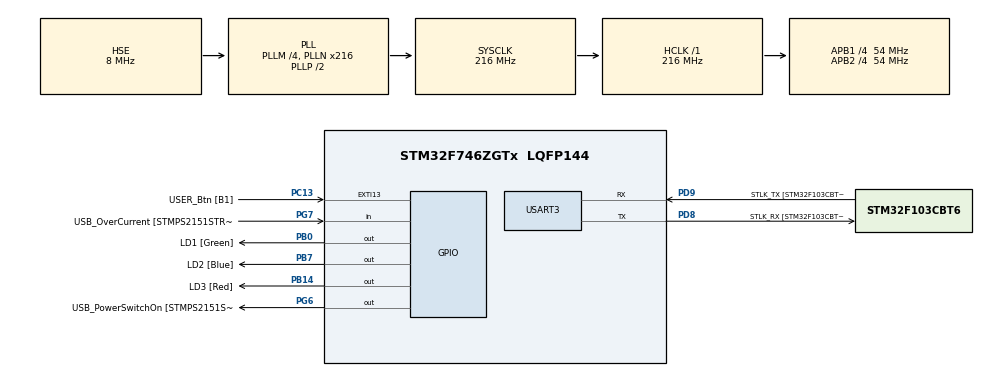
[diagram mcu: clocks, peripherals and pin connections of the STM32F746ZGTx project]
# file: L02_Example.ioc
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Mcu.Family=STM32F7
Mcu.Name=STM32F746ZGTx
Mcu.Package=LQFP144
NVIC.PriorityGroup=NVIC_PRIORITYGROUP_4
NVIC.USART3_IRQn=true\:0\:0\:false\:false\:true\:true\:true\:true
PA1.GPIO_Label=RMII_REF_CLK [LAN8742A-CZ-TR_REFCLK0]
PA1.Signal=ETH_REF_CLK
PA10.GPIO_Label=USB_ID
PA10.Signal=USB_OTG_FS_ID
PA11.GPIO_Label=USB_DM
PA11.Signal=USB_OTG_FS_DM
PA12.GPIO_Label=USB_DP
PA12.Signal=USB_OTG_FS_DP
PA13.GPIO_Label=TMS
PA13.Mode=Serial_Wire
PA13.Signal=SYS_JTMS-SWDIO
PA14.GPIO_Label=TCK
PA14.Mode=Serial_Wire
PA14.Signal=SYS_JTCK-SWCLK
PA2.GPIO_Label=RMII_MDIO [LAN8742A-CZ-TR_MDIO]
PA2.Signal=ETH_MDIO
PA7.GPIO_Label=RMII_CRS_DV [LAN8742A-CZ-TR_CRS_DV]
PA7.Signal=ETH_CRS_DV
PA8.GPIO_Label=USB_SOF [TP1]
PA8.Signal=USB_OTG_FS_SOF
PA9.GPIO_Label=USB_VBUS
PA9.Signal=USB_OTG_FS_VBUS
PB0.GPIO_Label=LD1 [Green]
PB0.Signal=GPIO_Output
PB13.GPIO_Label=RMII_TXD1 [LAN8742A-CZ-TR_TXD1]
PB13.Signal=ETH_TXD1
PB14.GPIO_Label=LD3 [Red]
PB14.Signal=GPIO_Output
PB3.GPIO_Label=SW0
PB3.Signal=SYS_JTDO-SWO
PB7.GPIO_Label=LD2 [Blue]
PB7.Signal=GPIO_Output
PC1.GPIO_Label=RMII_MDC [LAN8742A-CZ-TR_MDC]
PC1.Signal=ETH_MDC
PC13.GPIO_Label=USER_Btn [B1]
PC13.Signal=GPXTI13
PC14/OSC32_IN.Mode=LSE-External-Oscillator
PC14/OSC32_IN.Signal=RCC_OSC32_IN
PC15/OSC32_OUT.Mode=LSE-External-Oscillator
PC15/OSC32_OUT.Signal=RCC_OSC32_OUT
PC4.GPIO_Label=RMII_RXD0 [LAN8742A-CZ-TR_RXD0]
PC4.Signal=ETH_RXD0
PC5.GPIO_Label=RMII_RXD1 [LAN8742A-CZ-TR_RXD1]
PC5.Signal=ETH_RXD1
PD8.GPIO_Label=STLK_RX [STM32F103CBT6_PA3]
PD8.GPIO_PuPd=GPIO_PULLUP
PD8.Mode=Asynchronous
PD8.Signal=USART3_TX
PD9.GPIO_Label=STLK_TX [STM32F103CBT6_PA2]
PD9.GPIO_PuPd=GPIO_PULLUP
PD9.Mode=Asynchronous
PD9.Signal=USART3_RX
PG11.GPIO_Label=RMII_TX_EN [LAN8742A-CZ-TR_TXEN]
PG11.Signal=ETH_TX_EN
PG13.GPIO_Label=RMII_TXD0 [LAN8742A-CZ-TR_TXD0]
PG13.Signal=ETH_TXD0
PG6.GPIO_Label=USB_PowerSwitchOn [STMPS2151STR_EN]
PG6.Signal=GPIO_Output
PG7.GPIO_Label=USB_OverCurrent [STMPS2151STR_FAULT]
PG7.Signal=GPIO_Input
PH0/OSC_IN.GPIO_Label=MCO [STM32F103CBT6_PA8]
PH0/OSC_IN.Mode=HSE-External-Clock-Source
PH0/OSC_IN.Signal=RCC_OSC_IN
PH1/OSC_OUT.Mode=HSE-External-Clock-Source
PH1/OSC_OUT.Signal=RCC_OSC_OUT
ProjectManager.HeapSize=0x200
ProjectManager.StackSize=0x400
ProjectManager.TargetToolchain=STM32CubeIDE
RCC.48MHZClocksFreq_Value=24000000
RCC.AHBFreq_Value=216000000
RCC.APB1CLKDivider=RCC_HCLK_DIV4
RCC.APB1Freq_Value=54000000
RCC.APB1TimFreq_Value=108000000
RCC.APB2CLKDivider=RCC_HCLK_DIV4
RCC.APB2Freq_Value=54000000
RCC.APB2TimFreq_Value=108000000
RCC.CortexFreq_Value=216000000
RCC.HCLKFreq_Value=216000000
RCC.HSE_VALUE=8000000
RCC.HSI_VALUE=16000000
RCC.PLLM=4
RCC.PLLMUL=RCC_PLL_MUL9
RCC.PLLN=216
RCC.PLLQ=3
RCC.PLLSourceVirtual=RCC_PLLSOURCE_HSE
RCC.PRESCALERUSB=RCC_USBCLKSOURCE_PLL_DIV1_5
RCC.SYSCLKFreq_VALUE=216000000
RCC.SYSCLKSource=RCC_SYSCLKSOURCE_PLLCLK
RCC.SYSCLKSourceVirtual=RCC_SYSCLKSOURCE_PLLCLK
RCC.USBFreq_Value=144000000
RCC.VCOOutputFreq_Value=432000000
USART3.VirtualMode-Asynchronous=VM_ASYNC
board=NUCLEO-F746ZG

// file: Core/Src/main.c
/* USER CODE BEGIN Header */
/**
  ******************************************************************************
  * @file           : main.c
  * @brief          : Main program body
  ******************************************************************************
  * @attention
  *
  * Copyright (c) 2024 STMicroelectronics.
  * All rights reserved.
  *
  * This software is licensed under terms that can be found in the LICENSE file
  * in the root directory of this software component.
  * If no LICENSE file comes with this software, it is provided AS-IS.
  *
  ******************************************************************************
  */
#define TASK 7
/* USER CODE END Header */
#include "main.h"
#include "usart.h"
#include "gpio.h"

/* USER CODE BEGIN Includes */
#if TASK == 1
#include "led_config.h"
#endif
#if TASK == 2
#include <stdio.h>
#include "btn_config.h"
#include "led_config.h"
#endif
#if TASK == 3
#include "led_config.h"
#endif
#if TASK == 4
#include "led_config.h"
#endif
#if TASK == 5
#include "serial_api_config.h"
#endif
#if TASK == 6
#include "serial_api_config.h"
#endif
#if TASK == 7
#include <stdio.h>
#include "led_config.h"
#include "serial_api_config.h"
#endif
/* USER CODE END Includes */

/* USER CODE BEGIN PV */
#if TASK == 4
unsigned char Message;
#endif
#if TASK == 5
unsigned char Message[SERIAL_API_LED_MSG_LEN+1];
#endif
#if TASK == 6
unsigned int MessageIndex = 0;
unsigned char Message[SERIAL_API_LED_MSG_LEN+1];
_Bool MessageReceived = 0;
#endif
/* USER CODE END PV */

void SystemClock_Config(void);

/* USER CODE BEGIN 0 */
#if TASK == 4
/**
  * @brief Tx Transfer completed callback.
  * @param huart UART handle.
  * @retval None
  */
void HAL_UART_TxCpltCallback(UART_HandleTypeDef *huart)
{
  if(huart == &huart3)
  {
    LED_DIO_Off(&hld1);
    HAL_UART_Receive_IT(&huart3, &Message, 1);
  }
}

/**
  * @brief  Rx Transfer completed callback.
  * @param  huart UART handle.
  * @retval None
  */
void HAL_UART_RxCpltCallback(UART_HandleTypeDef *huart)
{
  if(huart == &huart3)
  {
    LED_DIO_On(&hld1);
    HAL_UART_Transmit_IT(&huart3, &Message, 1);
  }
}
#endif
#if TASK == 5
/**
  * @brief  Rx Transfer completed callback.
  * @param  huart UART handle.
  * @retval None
  */
void HAL_UART_RxCpltCallback(UART_HandleTypeDef *huart)
{
  if(huart == &huart3)
  {
    unsigned int hleds_n = sizeof(hleds) / sizeof(hleds[0]);
    SERIAL_API_LED_ReadMsg((char*)Message, hleds, hleds_n);
    for(int i = 0; i < hleds_n; i++)
      LED_DIO_Write(hleds[i].Led, hleds[i].State);
    HAL_UART_Receive_IT(&huart3, Message, SERIAL_API_LED_MSG_LEN);
  }
}
#endif
#if TASK == 6
/**
  * @brief  Rx Transfer completed callback.
  * @param  huart UART handle.
  * @retval None
  */
void HAL_UART_RxCpltCallback(UART_HandleTypeDef *huart)
{
  if(huart == &huart3)
  {
    MessageIndex++;
    if(MessageIndex == SERIAL_API_LED_MSG_LEN || Message[MessageIndex-1] == '\r')
    {
      MessageReceived = 1;
      MessageIndex = 0;
    }
    else
      HAL_UART_Receive_IT(&huart3, &Message[MessageIndex], 1);
  }
}
#endif
#if TASK == 7
int _write(int file, char *ptr, int len)
{
  return (HAL_UART_Transmit(&huart3, (uint8_t*)ptr, len, HAL_MAX_DELAY) == HAL_OK) ? len : -1;
}

int _read(int file, char *ptr, int len)
{
  return (HAL_UART_Receive(&huart3, (uint8_t*)ptr, len, HAL_MAX_DELAY) == HAL_OK) ? len : -1;
}
#endif
/* USER CODE END 0 */

int main(void)
{

  /* USER CODE BEGIN 1 */
  #if TASK == 7
  setvbuf(stdin, NULL, _IONBF, 0);
  #endif
  /* USER CODE END 1 */

  /* MCU Configuration--------------------------------------------------------*/

  /* Reset of all peripherals, Initializes the Flash interface and the Systick. */
  HAL_Init();

  /* Configure the system clock */
  SystemClock_Config();

  /* Initialize all configured peripherals */
  MX_GPIO_Init();
  MX_USART3_UART_Init();
  /* USER CODE BEGIN 2 */
  #if TASK == 1
  unsigned char Message[] = "Hello, Nucleo!\r\n";
  HAL_StatusTypeDef USART3_TxStatus = HAL_UART_Transmit(&huart3, Message, sizeof(Message) - 1, 10);
  if(USART3_TxStatus == HAL_OK)
    LED_DIO_On(&hld1);
  else
    LED_DIO_On(&hld3);
  #endif
  #if TASK == 4
  HAL_UART_Receive_IT(&huart3, &Message, 1);
  #endif
  #if TASK == 5
  HAL_UART_Receive_IT(&huart3, Message, SERIAL_API_LED_MSG_LEN);
  #endif
  #if TASK == 6
  HAL_UART_Receive_IT(&huart3, &Message[MessageIndex], 1);
  #endif
  #if TASK == 7
  puts("Hello, Nucleo!");
  #endif
  /* USER CODE END 2 */

  /* Infinite loop */
  /* USER CODE BEGIN WHILE */
  while (1)
  {
    #if TASK == 2
    if(BTN_DIO_EdgeDetected(&husrbtn) == BTN_PRESSED_EDGE)
    {
      static unsigned int USER_Btn_Cnt = 0;
      USER_Btn_Cnt++;

      unsigned char Message[32];
      int MessageLen = snprintf((char*)Message, sizeof(Message), "Hello, Nucleo: #%d\r\n", USER_Btn_Cnt);

      HAL_StatusTypeDef USART3_TxStatus = HAL_UART_Transmit(&huart3, Message, MessageLen, 10);

      LED_DIO_AllOff();
      if(USART3_TxStatus == HAL_OK)
        LED_DIO_On(&hld1);
      else
        LED_DIO_On(&hld3);
    }
    HAL_Delay(50);
    #endif
    #if TASK == 3
    unsigned char Message = '\0';
    HAL_StatusTypeDef USART3_RxStatus = HAL_UART_Receive(&huart3, &Message, 1, 100);
    LED_DIO_AllOff();

    if(USART3_RxStatus == HAL_OK)
    {
      LED_DIO_On(&hld1);
      HAL_UART_Transmit(&huart3, &Message, 1, 10);
    }
    else if(USART3_RxStatus == HAL_TIMEOUT)
      LED_DIO_On(&hld2);
    else
      LED_DIO_On(&hld3);
    #endif
    #if TASK == 6
    if(MessageReceived)
    {
      MessageReceived = 0;
      unsigned int hleds_n = sizeof(hleds) / sizeof(hleds[0]);
      SERIAL_API_LED_ReadMsg((char*)Message, hleds, hleds_n);
      for(int i = 0; i < hleds_n; i++)
        LED_DIO_Write(hleds[i].Led, hleds[i].State);
      HAL_UART_Receive_IT(&huart3, &Message[MessageIndex], 1);
    }
    #endif
    #if TASK == 7
    char Message[SERIAL_API_LED_MSG_LEN+2]; // CR + Null character
    int ReadoutStatus = scanf("%s",  Message);
    if(ReadoutStatus == 1)
    {
      unsigned int hleds_n = sizeof(hleds) / sizeof(hleds[0]);
      SERIAL_API_LED_ReadMsg((char*)Message, hleds, hleds_n);
      for(int i = 0; i < hleds_n; i++)
        LED_DIO_Write(hleds[i].Led, hleds[i].State);
    }
    #endif
    /* USER CODE END WHILE */

  }
}

void SystemClock_Config(void)
{
  RCC_OscInitTypeDef RCC_OscInitStruct = {0};
  RCC_ClkInitTypeDef RCC_ClkInitStruct = {0};

  /** Configure LSE Drive Capability
  */
  HAL_PWR_EnableBkUpAccess();

  /** Configure the main internal regulator output voltage
  */
  __HAL_RCC_PWR_CLK_ENABLE();
  __HAL_PWR_VOLTAGESCALING_CONFIG(PWR_REGULATOR_VOLTAGE_SCALE1);

  /** Initializes the RCC Oscillators according to the specified parameters
  * in the RCC_OscInitTypeDef structure.
  */
  RCC_OscInitStruct.OscillatorType = RCC_OSCILLATORTYPE_HSE;
  RCC_OscInitStruct.HSEState = RCC_HSE_BYPASS;
  RCC_OscInitStruct.PLL.PLLState = RCC_PLL_ON;
  RCC_OscInitStruct.PLL.PLLSource = RCC_PLLSOURCE_HSE;
  RCC_OscInitStruct.PLL.PLLM = 4;
  RCC_OscInitStruct.PLL.PLLN = 216;
  RCC_OscInitStruct.PLL.PLLP = RCC_PLLP_DIV2;
  RCC_OscInitStruct.PLL.PLLQ = 3;
  if (HAL_RCC_OscConfig(&RCC_OscInitStruct) != HAL_OK)
  {
    Error_Handler();
  }

  /** Activate the Over-Drive mode
  */
  if (HAL_PWREx_EnableOverDrive() != HAL_OK)
  {
    Error_Handler();
  }

  /** Initializes the CPU, AHB and APB buses clocks
  */
  RCC_ClkInitStruct.ClockType = RCC_CLOCKTYPE_HCLK|RCC_CLOCKTYPE_SYSCLK
                              |RCC_CLOCKTYPE_PCLK1|RCC_CLOCKTYPE_PCLK2;
  RCC_ClkInitStruct.SYSCLKSource = RCC_SYSCLKSOURCE_PLLCLK;
  RCC_ClkInitStruct.AHBCLKDivider = RCC_SYSCLK_DIV1;
  RCC_ClkInitStruct.APB1CLKDivider = RCC_HCLK_DIV4;
  RCC_ClkInitStruct.APB2CLKDivider = RCC_HCLK_DIV4;

  if (HAL_RCC_ClockConfig(&RCC_ClkInitStruct, FLASH_LATENCY_7) != HAL_OK)
  {
    Error_Handler();
  }
}

void Error_Handler(void)
{
  __disable_irq();
  while (1)
  {
  }
}
